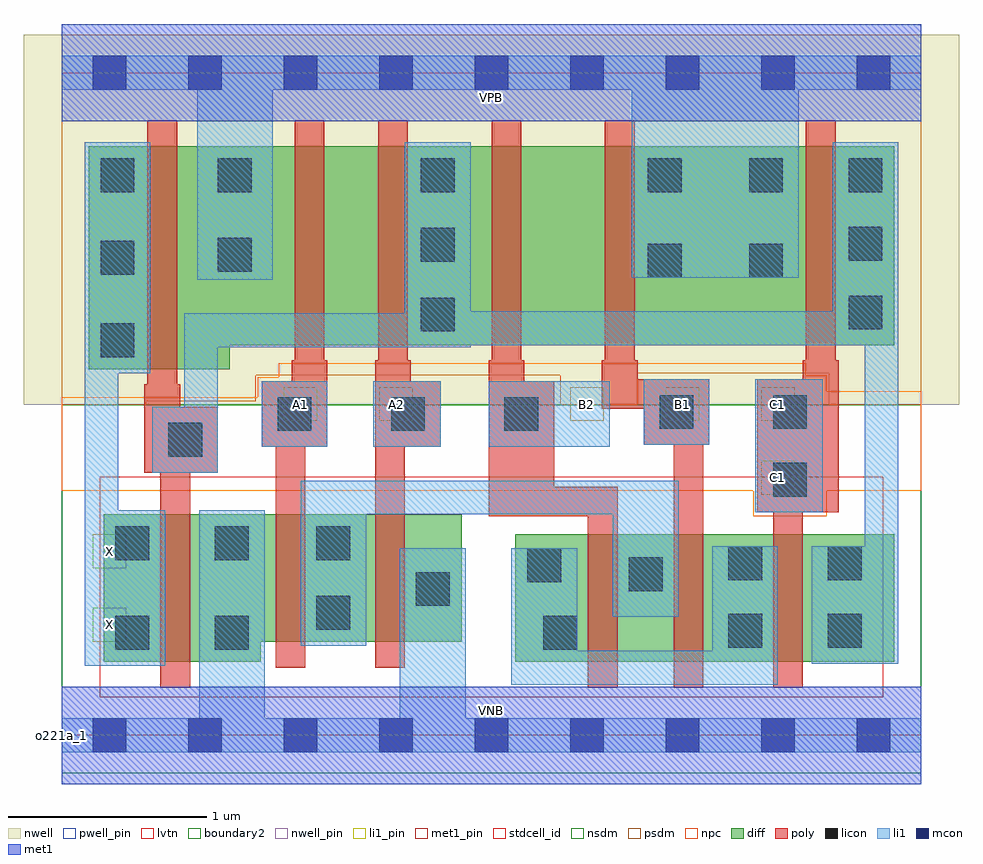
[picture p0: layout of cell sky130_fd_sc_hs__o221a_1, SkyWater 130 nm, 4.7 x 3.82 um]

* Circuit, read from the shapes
.subckt sky130_fd_sc_hs__o221a_1 A1 A2 B1 B2 C1 VGND VNB VPB VPWR X
XM1 VGND n1 X VNB sky130_fd_pr__nfet_01v8_lvt w=0.74 l=0.15
XM2 n2 A1 VGND VNB sky130_fd_pr__nfet_01v8_lvt w=0.64 l=0.15
XM3 VGND A2 n2 VNB sky130_fd_pr__nfet_01v8_lvt w=0.64 l=0.15
XM4 n2 B2 n3 VNB sky130_fd_pr__nfet_01v8_lvt w=0.64 l=0.15
XM5 n3 B1 n2 VNB sky130_fd_pr__nfet_01v8_lvt w=0.64 l=0.15
XM6 n1 C1 n3 VNB sky130_fd_pr__nfet_01v8_lvt w=0.64 l=0.15
XM7 VPWR n1 X VPB sky130_fd_pr__pfet_01v8 w=1.12 l=0.15
XM8 n4 A1 VPWR VPB sky130_fd_pr__pfet_01v8 w=1 l=0.15
XM9 n1 A2 n4 VPB sky130_fd_pr__pfet_01v8 w=1 l=0.15
XM10 n5 B2 n1 VPB sky130_fd_pr__pfet_01v8 w=1 l=0.15
XM11 VPWR B1 n5 VPB sky130_fd_pr__pfet_01v8 w=1 l=0.15
XM12 n1 C1 VPWR VPB sky130_fd_pr__pfet_01v8 w=1 l=0.15
.ends

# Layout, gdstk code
import gdstk
lib = gdstk.Library(unit=1e-6, precision=1e-09)
def R(c, l, rs):  # rectangles x0, y0, x1, y1
    for r in rs: c.add(gdstk.rectangle(r[:2], r[2:], *l))
def A(c, l, x, y, w, h, nx, ny, dx, dy):  # array of equal rectangles
    R(c, l, [(x+i*dx, y+j*dy, x+i*dx+w, y+j*dy+h) for i in range(nx) for j in range(ny)])
def P(c, l, *ps):  # polygons
    for p in ps: c.add(gdstk.Polygon(p, *l))
nwell_pin = (64, 16)
nwell = (64, 20)
diff = (65, 20)
poly = (66, 20)
licon = (66, 44)
li1_pin = (67, 16)
li1 = (67, 20)
mcon = (67, 44)
met1_pin = (68, 16)
met1 = (68, 20)
stdcell_id = (81, 4)
nsdm = (93, 44)
psdm = (94, 20)
npc = (95, 20)
pwell_pin = (122, 16)
lvtn = (125, 44)
boundary2 = (236, 0)

sky130_fd_sc_hs__o221a_1 = lib.new_cell('sky130_fd_sc_hs__o221a_1')
R(sky130_fd_sc_hs__o221a_1, nwell_pin, [(0,3.085,4.32,3.33)])
R(sky130_fd_sc_hs__o221a_1, nwell, [(-0.19,1.66,4.51,3.52)])
R(sky130_fd_sc_hs__o221a_1, diff, [(2.28,0.37,4.185,1.01)])
P(sky130_fd_sc_hs__o221a_1, diff, [(2.01,1.11),(0.21,1.11),(0.21,0.37),(1,0.37),(1,0.47),(2.01,0.47)],
  [(4.185,2.96),(0.135,2.96),(0.135,1.84),(0.845,1.84),(0.845,1.96),(4.185,1.96)])
P(sky130_fd_sc_hs__o221a_1, poly, [(3.905,1.885),(3.89,1.885),(3.89,3.09),(3.74,3.09),(3.74,1.885),(3.725,1.885),(3.725,1.79),(3.495,1.79),(3.495,1.12),(3.575,1.12),(3.575,0.24),(3.725,0.24),(3.725,1.12),(3.905,1.12)],
  [(3.255,1.79),(2.895,1.79),(2.895,1.885),(2.88,1.885),(2.88,3.09),(2.73,3.09),(2.73,1.885),(2.715,1.885),(2.715,1.64),(2.925,1.64),(2.925,1.46),(3.075,1.46),(3.075,0.24),(3.225,0.24),(3.225,1.46),(3.255,1.46)],
  [(2.795,1.25),(2.475,1.25),(2.475,1.78),(2.325,1.78),(2.325,1.885),(2.31,1.885),(2.31,3.09),(2.16,3.09),(2.16,1.885),(2.145,1.885),(2.145,1.1),(2.645,1.1),(2.645,0.24),(2.795,0.24)],
  [(1.905,1.78),(1.755,1.78),(1.755,1.885),(1.74,1.885),(1.74,3.09),(1.59,3.09),(1.59,1.885),(1.575,1.885),(1.575,0.34),(1.725,0.34),(1.725,1.45),(1.905,1.45)],
  [(1.335,1.885),(1.32,1.885),(1.32,3.09),(1.17,3.09),(1.17,1.885),(1.155,1.885),(1.155,1.78),(1.005,1.78),(1.005,1.45),(1.075,1.45),(1.075,0.34),(1.225,0.34),(1.225,1.45),(1.335,1.45)],
  [(0.785,1.65),(0.595,1.65),(0.595,1.765),(0.58,1.765),(0.58,3.09),(0.43,3.09),(0.43,1.765),(0.415,1.765),(0.415,1.32),(0.495,1.32),(0.495,0.24),(0.645,0.24),(0.645,1.32),(0.785,1.32)])
A(sky130_fd_sc_hs__o221a_1, licon, 1.085, 1.53, 0.17, 0.17, 3, 1, 0.57, 0)
A(sky130_fd_sc_hs__o221a_1, licon, 0.195, 1.9, 0.17, 0.17, 1, 3, 0, 0.415)
A(sky130_fd_sc_hs__o221a_1, licon, 1.805, 2.03, 0.17, 0.17, 1, 3, 0, 0.35)
A(sky130_fd_sc_hs__o221a_1, licon, 3.955, 2.04, 0.17, 0.17, 1, 3, 0, 0.345)
R(sky130_fd_sc_hs__o221a_1, licon, [(0.27,0.43,0.44,0.6), (0.77,0.43,0.94,0.6), (2.42,0.43,2.59,0.6), (3.35,0.44,3.52,0.61), (3.85,0.44,4.02,0.61), (1.28,0.53,1.45,0.7), (1.78,0.65,1.95,0.82), (2.85,0.725,3.02,0.895), (2.34,0.77,2.51,0.94), (3.35,0.78,3.52,0.95), (3.85,0.78,4.02,0.95), (0.27,0.88,0.44,1.05), (0.77,0.88,0.94,1.05), (1.28,0.88,1.45,1.05), (3.575,1.2,3.745,1.37), (0.535,1.4,0.705,1.57), (3.005,1.54,3.175,1.71), (3.575,1.54,3.745,1.71), (2.945,2.3,3.115,2.47), (3.455,2.3,3.625,2.47), (0.785,2.33,0.955,2.5), (0.785,2.73,0.955,2.9), (2.945,2.73,3.115,2.9), (3.455,2.73,3.625,2.9)])
A(sky130_fd_sc_hs__o221a_1, li1_pin, 2.555, 1.58, 0.17, 0.17, 3, 1, 0.48, 0)
R(sky130_fd_sc_hs__o221a_1, li1_pin, [(0.155,0.47,0.325,0.64), (0.155,0.84,0.325,1.01), (3.515,1.21,3.685,1.38), (1.115,1.58,1.285,1.75), (1.595,1.58,1.765,1.75)])
R(sky130_fd_sc_hs__o221a_1, li1, [(3.485,1.12,3.825,1.79), (1.005,1.45,1.335,1.78), (1.565,1.45,1.905,1.78), (2.145,1.45,2.755,1.78), (2.925,1.46,3.255,1.79)])
P(sky130_fd_sc_hs__o221a_1, li1, [(0,-0.085),(0,0.085),(0.69,0.085),(0.69,1.13),(1.02,1.13),(1.02,0.085),(1.7,0.085),(1.7,0.94),(2.03,0.94),(2.03,0.085),(4.32,0.085),(4.32,-0.085)],
  [(0,3.245),(0,3.415),(4.32,3.415),(4.32,3.245),(3.705,3.245),(3.705,2.3),(2.865,2.3),(2.865,3.245),(1.06,3.245),(1.06,2.29),(0.68,2.29),(0.68,3.245)],
  [(0.115,0.35),(0.115,2.98),(0.445,2.98),(0.445,1.82),(0.285,1.82),(0.285,1.13),(0.52,1.13),(0.52,0.35)],
  [(0.615,2.12),(1.725,2.12),(1.725,2.98),(2.055,2.98),(2.055,2.13),(3.875,2.13),(3.875,2.98),(4.205,2.98),(4.205,0.36),(3.77,0.36),(3.77,0.95),(4.035,0.95),(4.035,1.96),(2.055,1.96),(2.055,1.95),(0.785,1.95),(0.785,1.32),(0.455,1.32),(0.455,1.65),(0.615,1.65)],
  [(3.1,1.28),(3.1,0.595),(2.77,0.595),(2.77,1.11),(1.53,1.11),(1.53,0.45),(1.2,0.45),(1.2,1.28)],
  [(3.27,0.425),(3.27,0.95),(3.6,0.95),(3.6,0.255),(2.26,0.255),(2.26,0.94),(2.59,0.94),(2.59,0.425)])
A(sky130_fd_sc_hs__o221a_1, mcon, 0.155, -0.085, 0.17, 0.17, 9, 2, 0.48, 3.33)
R(sky130_fd_sc_hs__o221a_1, met1_pin, [(0,0,4.32,0.245), (0,3.085,4.32,3.33)])
R(sky130_fd_sc_hs__o221a_1, met1, [(0,-0.245,4.32,0.245), (0,3.085,4.32,3.575)])
R(sky130_fd_sc_hs__o221a_1, stdcell_id, [(0,0,4.32,3.33)])
R(sky130_fd_sc_hs__o221a_1, nsdm, [(0,-0.19,4.32,1.66)])
P(sky130_fd_sc_hs__o221a_1, psdm, [(4.32,3.52),(0,3.52),(0,1.66),(0.425,1.66),(0.425,1.68),(0.975,1.68),(0.975,1.81),(2.505,1.81),(2.505,1.66),(2.895,1.66),(2.895,1.82),(3.855,1.82),(3.855,1.66),(4.32,1.66)])
P(sky130_fd_sc_hs__o221a_1, npc, [(4.32,1.73),(3.845,1.73),(3.845,1.81),(3.74,1.81),(3.74,1.87),(1.09,1.87),(1.09,1.8),(0.985,1.8),(0.985,1.7),(0,1.7),(0,1.23),(3.475,1.23),(3.475,1.1),(3.845,1.1),(3.845,1.23),(4.32,1.23)])
R(sky130_fd_sc_hs__o221a_1, pwell_pin, [(0,0,4.32,0.245)])
R(sky130_fd_sc_hs__o221a_1, lvtn, [(0.19,0.19,4.13,1.3)])
R(sky130_fd_sc_hs__o221a_1, boundary2, [(0,0,4.32,3.33)])
sky130_fd_sc_hs__o221a_1.add(gdstk.Label('o221a_1', (0,0), layer=83, texttype=44))
sky130_fd_sc_hs__o221a_1.add(gdstk.Label('VNB', (2.16,0.123), layer=64, texttype=59))
sky130_fd_sc_hs__o221a_1.add(gdstk.Label('VPB', (2.16,3.208), layer=64, texttype=5))
sky130_fd_sc_hs__o221a_1.add(gdstk.Label('VPWR', (2.16,3.208), layer=68, texttype=5))
sky130_fd_sc_hs__o221a_1.add(gdstk.Label('VGND', (2.16,0.123), layer=68, texttype=5))
sky130_fd_sc_hs__o221a_1.add(gdstk.Label('C1', (3.6,1.295), layer=67, texttype=5))
sky130_fd_sc_hs__o221a_1.add(gdstk.Label('C1', (3.6,1.665), layer=67, texttype=5))
sky130_fd_sc_hs__o221a_1.add(gdstk.Label('A1', (1.2,1.665), layer=67, texttype=5))
sky130_fd_sc_hs__o221a_1.add(gdstk.Label('A2', (1.68,1.665), layer=67, texttype=5))
sky130_fd_sc_hs__o221a_1.add(gdstk.Label('B1', (3.12,1.665), layer=67, texttype=5))
sky130_fd_sc_hs__o221a_1.add(gdstk.Label('B2', (2.64,1.665), layer=67, texttype=5))
sky130_fd_sc_hs__o221a_1.add(gdstk.Label('X', (0.24,0.555), layer=67, texttype=5))
sky130_fd_sc_hs__o221a_1.add(gdstk.Label('X', (0.24,0.925), layer=67, texttype=5))

lib.write_gds('sky130_fd_sc_hs__o221a_1.gds')
